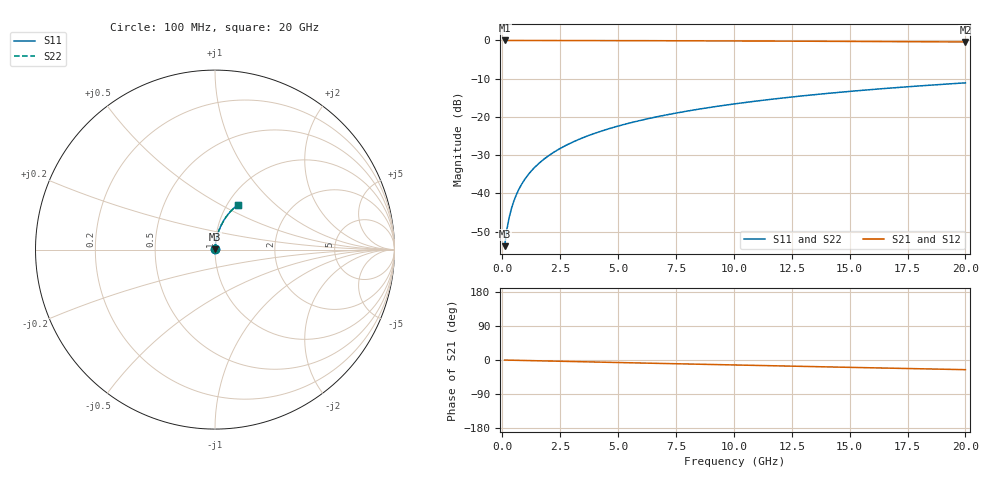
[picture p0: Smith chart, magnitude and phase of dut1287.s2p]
! Touchstone file exported from HFSS 2026.1.0
!  File:  C:/ffzhzh/LocalFiles/Ansys_Project_Files/temp_train_BSMRDL_1287_1783177946_18472.aedt
!  Generated:  11:13:39 PM Jul  4, 2026
!  Design:  BSMRDL
!  Project:  temp_train_BSMRDL_1287_1783177946_18472
! Variables:
!  h_bsmrdl = 5.52um
!  h_ox = 20um
!  h_rdl = 5um
!  h_sub = 80um
!  h_tmrdl = 5um
!  h_tsv = 80um
!  h_via = 3um
!  l_bsmrdl = 319.91um
!  l_sub = 719.91um
!  l_tmrdl = 200um
!  m_sub = 200um
!  pitch = 53.99um
!  r_tsv = 6um
!  s_tmrdl = 10um
!  w_bsmrdl = 18.41um
!  w_sub = 500um
!  w_tmrdl = 12um
!  x_tsv_center1 = 206um
!  x_tsv_center2 = 544.32um
!  x_tsv_center3 = 756.32um
!  x_tsv_center4 = 1094.64um
!  x_tsv_center5 = 1306.64um
!  x_tsv_center6 = 1644.96um
# GHz S MA R 50.000000
! Terminal data exported
! Port[1] = BSM_RDL1_1_T1
! Port[2] = BSM_RDL1_1_T2
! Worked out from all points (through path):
!   200 points, 100 MHz to 20 GHz, reference 50 ohm
!   highest |S21| = -0.01 dB at 100 MHz (marker M1); lowest = -0.4 dB at 20 GHz (marker M2)
!   group delay of S21, straight-line fit = 3.54 ps
!   lowest |S11| = -53.8 dB at 100 MHz (marker M3), VSWR 1.00, Z = 50.1 + j0.163 ohm
!   |S11| at or under -10 dB: start of sweep to end of sweep
!   |S22| runs from -53.8 to -11.1 dB; largest |S21 - S12| = 3.2e-15
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0.1  0.002048 52.7  0.9988 -0.1  0.9988 -0.1  0.002048 52.7
! Gamma 0 0 0 0
! Port Impedance 50 0 50 0
0.2  0.003411 68.9  0.9987 -0.3  0.9987 -0.3  0.003412 68.9
0.3  0.004902 75.2  0.9986 -0.4  0.9986 -0.4  0.004903 75.2
0.4  0.006432 78.5  0.9986 -0.5  0.9986 -0.5  0.006433 78.5
0.5  0.007977 80.3  0.9985 -0.7  0.9985 -0.7  0.007978 80.4
0.7  0.01108 82.4  0.9985 -1.0  0.9985 -1.0  0.01109 82.4
0.8  0.01264 82.9  0.9984 -1.1  0.9984 -1.1  0.01264 82.9
1  0.01575 83.6  0.9983 -1.4  0.9983 -1.4  0.01575 83.6
1.2  0.01885 83.9  0.9982 -1.6  0.9982 -1.6  0.01885 83.9
1.4  0.02194 84.1  0.9981 -1.9  0.9981 -1.9  0.02195 84.1
1.7  0.02656 84.1  0.9979 -2.3  0.9979 -2.3  0.02656 84.1
2  0.03115 83.9  0.9976 -2.7  0.9976 -2.7  0.03115 83.9
2.7  0.04177 83.4  0.997 -3.6  0.997 -3.6  0.04177 83.4
3.5  0.05377 82.6  0.996 -4.7  0.996 -4.7  0.05377 82.6
4.2  0.06418 81.8  0.9951 -5.6  0.9951 -5.6  0.06418 81.8
5  0.07598 81.0  0.994 -6.7  0.994 -6.7  0.07598 81.0
6.8  0.1022 78.9  0.991 -9.0  0.991 -9.0  0.1022 78.9
8.3  0.1237 77.1  0.9881 -10.9  0.9881 -10.9  0.1237 77.1
10.1  0.1492 75.0  0.9842 -13.3  0.9842 -13.3  0.1492 75.0
13.4  0.1944 71.0  0.9756 -17.4  0.9756 -17.4  0.1944 71.0
16.7  0.2378 67.1  0.9655 -21.5  0.9655 -21.5  0.2378 67.1
20  0.2789 63.2  0.954 -25.5  0.954 -25.5  0.2789 63.2
